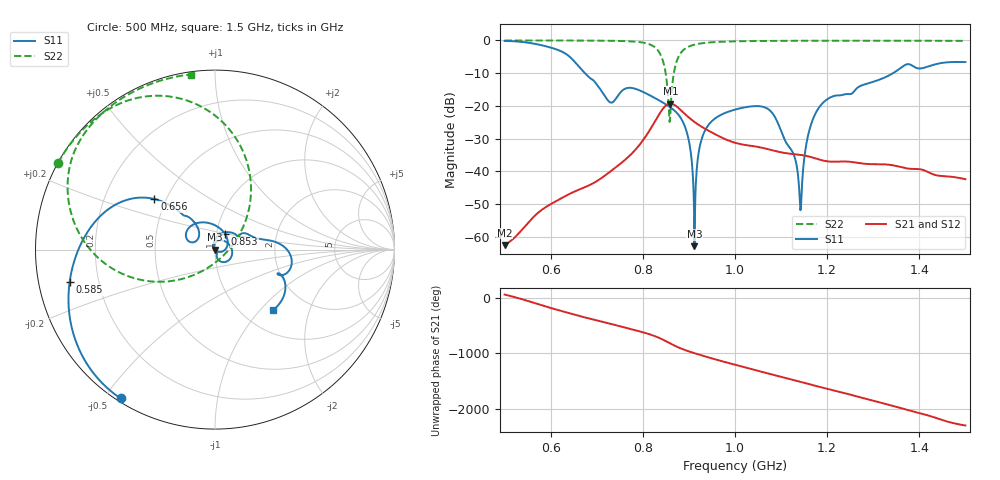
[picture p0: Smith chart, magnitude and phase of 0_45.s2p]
! TOUCHSTONE file generated by CST MICROWAVE STUDIO
! Date and time: Sat Oct 24 11:18:09 2020
! Project name: Scenario_1_Circular_Tissue_in_Line.cst
! Parameters = {L_HA=400; MT=2.54; Rad_Dielectric=30; Rad_Lower=7.3; Rad_Upper=30; a_HA=580; a_WG=246; b_HA=500; b_WG=121; c_HA=0; c_WG=187; d_feed=85; dx1=935.08; h_feed=15; h_lower=18; h_upper=40}
! Header version: 2018
! Port assignment regex: !\s*Touchstone port\s*([0-9]+)\s*=\s*(CST MWS port|CST DS port)\s*([0-9]+|Zmin|Zmax)\s*\(\"(.*)\"\)(\s*mode\s*([0-9]+))?.*
! Touchstone port assignment:
! Touchstone port 1 = CST MWS port 1 ("")
! Touchstone port 2 = CST MWS port 2 ("")
# GHz S DB R 50
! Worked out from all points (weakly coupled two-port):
!   1003 points, 500 MHz to 1.5 GHz, reference 50 ohm
!   highest |S21| = -19.29 dB at 860 MHz (marker M1); lowest = -62.4 dB at 500 MHz (marker M2)
!   lowest |S11| = -62.8 dB at 912 MHz (marker M3), VSWR 1.00, Z = 50.1 + j0.00302 ohm
!   |S11| at or under -10 dB: 674.4 MHz to 1.343 GHz (668.5 MHz wide, 66.3 % of centre)
!   |S22| runs from -24.9 to 0.0 dB; largest |S21 - S12| = 2.3e-05
!   S11 on the Smith chart (normalised r, x): 500 MHz: 0.01, -0.55; 585 MHz: 0.09, -0.11; 656 MHz: 0.43, +0.30; 853 MHz: 1.10, +0.19; 1.5 GHz: 1.37, -1.18
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0.5  -0.16 -122.4  -62.43 58.1  -62.43 58.1  -0.01 151.1
0.585  -1.62 -167.5  -51.29 -146.1  -51.30 -146.1  -0.02 145.2
0.656  -7.14 140.1  -45.87 46.8  -45.87 46.8  -0.04 139.4
0.667  -8.90 135.8  -45.23 22.2  -45.23 22.2  -0.04 138.3
0.729  -18.91 144.0  -40.06 -106.3  -40.06 -106.3  -0.11 131.0
0.77  -14.46 143.1  -35.37 166.3  -35.37 166.3  -0.25 123.1
0.834  -18.19 78.6  -22.90 3.6  -22.90 3.6  -3.29 84.1
0.853  -19.79 56.2  -19.57 -73.0  -19.57 -73.0  -13.99 38.6
0.86  -20.45 46.8  -19.29 -103.8  -19.29 -103.8  -21.39 -99.4
0.873  -22.01 26.7  -20.13 -157.2  -20.13 -157.2  -6.56 -159.8
0.895  -27.83 -16.2  -22.93 130.2  -22.94 130.2  -2.21 171.8
0.912  -62.81 2.4  -24.89 83.8  -24.89 83.8  -1.29 161.3
0.923  -32.78 100.5  -25.94 55.8  -25.94 55.8  -0.97 156.8
0.935  -27.48 80.3  -26.96 26.1  -26.96 26.1  -0.74 152.9
1  -21.12 12.8  -31.24 -123.6  -31.24 -123.6  -0.27 140.3
1.081  -22.18 -61.6  -33.53 58.8  -33.53 58.8  -0.14 131.4
1.128  -35.06 -60.8  -34.73 -40.5  -34.73 -40.5  -0.11 127.3
1.142  -51.85 -140.5  -34.95 -71.4  -34.95 -71.4  -0.11 126.2
1.167  -24.84 89.5  -35.69 -127.4  -35.69 -127.4  -0.10 124.2
1.203  -17.70 47.1  -36.96 158.7  -36.96 158.7  -0.09 121.4
1.334  -10.70 10.7  -37.94 -125.4  -37.94 -125.4  -0.09 111.4
1.5  -6.61 -46.1  -42.36 -135.9  -42.39 -135.9  -0.14 97.9
